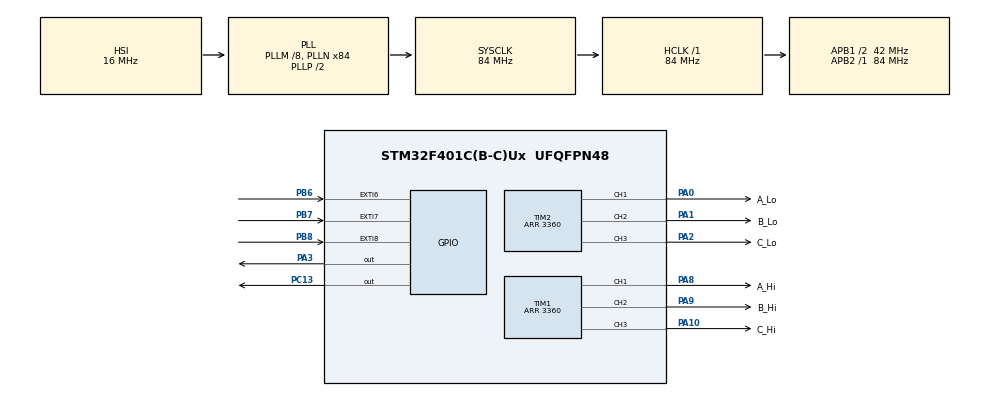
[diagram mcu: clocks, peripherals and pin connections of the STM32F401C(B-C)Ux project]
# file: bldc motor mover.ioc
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Mcu.Family=STM32F4
Mcu.Name=STM32F401C(B-C)Ux
Mcu.Package=UFQFPN48
NVIC.PriorityGroup=NVIC_PRIORITYGROUP_4
NVIC.TIM3_IRQn=true\:0\:0\:false\:false\:true\:true\:true
PA0-WKUP.GPIO_Label=A_Lo
PA0-WKUP.GPIO_Speed=GPIO_SPEED_FREQ_HIGH
PA0-WKUP.Signal=S_TIM2_CH1_ETR
PA1.GPIO_Label=B_Lo
PA1.GPIO_Speed=GPIO_SPEED_FREQ_HIGH
PA1.Signal=S_TIM2_CH2
PA10.GPIO_Label=C_Hi
PA10.GPIO_Speed=GPIO_SPEED_FREQ_HIGH
PA10.Signal=S_TIM1_CH3
PA13.Mode=Serial_Wire
PA13.Signal=SYS_JTMS-SWDIO
PA14.Mode=Serial_Wire
PA14.Signal=SYS_JTCK-SWCLK
PA2.GPIO_Label=C_Lo
PA2.GPIO_Speed=GPIO_SPEED_FREQ_HIGH
PA2.Signal=S_TIM2_CH3
PA3.Signal=GPIO_Output
PA8.GPIO_Label=A_Hi
PA8.GPIO_Speed=GPIO_SPEED_FREQ_HIGH
PA8.Signal=S_TIM1_CH1
PA9.GPIO_Label=B_Hi
PA9.GPIO_Speed=GPIO_SPEED_FREQ_HIGH
PA9.Signal=S_TIM1_CH2
PB6.GPIO_ModeDefaultEXTI=GPIO_MODE_IT_RISING_FALLING
PB6.Signal=GPXTI6
PB7.GPIO_ModeDefaultEXTI=GPIO_MODE_IT_RISING_FALLING
PB7.Signal=GPXTI7
PB8.GPIO_ModeDefaultEXTI=GPIO_MODE_IT_RISING_FALLING
PB8.Signal=GPXTI8
PC13-ANTI_TAMP.Signal=GPIO_Output
ProjectManager.HeapSize=0x200
ProjectManager.StackSize=0x400
ProjectManager.TargetToolchain=STM32CubeIDE
RCC.48MHZClocksFreq_Value=42000000
RCC.AHBFreq_Value=84000000
RCC.APB1CLKDivider=RCC_HCLK_DIV2
RCC.APB1Freq_Value=42000000
RCC.APB1TimFreq_Value=84000000
RCC.APB2Freq_Value=84000000
RCC.APB2TimFreq_Value=84000000
RCC.CortexFreq_Value=84000000
RCC.HCLKFreq_Value=84000000
RCC.HSE_VALUE=25000000
RCC.HSI_VALUE=16000000
RCC.LSE_VALUE=32768
RCC.PLLM=8
RCC.PLLN=84
RCC.SYSCLKFreq_VALUE=84000000
RCC.SYSCLKSource=RCC_SYSCLKSOURCE_PLLCLK
RCC.VCOOutputFreq_Value=168000000
SH.S_TIM1_CH1.0=TIM1_CH1,PWM Generation1 CH1
SH.S_TIM1_CH2.0=TIM1_CH2,PWM Generation2 CH2
SH.S_TIM1_CH3.0=TIM1_CH3,PWM Generation3 CH3
SH.S_TIM2_CH1_ETR.0=TIM2_CH1,PWM Generation1 CH1
SH.S_TIM2_CH2.0=TIM2_CH2,PWM Generation2 CH2
SH.S_TIM2_CH3.0=TIM2_CH3,PWM Generation3 CH3
TIM1.AutoReloadPreload=TIM_AUTORELOAD_PRELOAD_ENABLE
TIM1.Channel-PWM\ Generation1\ CH1=TIM_CHANNEL_1
TIM1.Channel-PWM\ Generation2\ CH2=TIM_CHANNEL_2
TIM1.Channel-PWM\ Generation3\ CH3=TIM_CHANNEL_3
TIM1.OCFastMode_PWM-PWM\ Generation1\ CH1=TIM_OCFAST_ENABLE
TIM1.OCFastMode_PWM-PWM\ Generation2\ CH2=TIM_OCFAST_ENABLE
TIM1.OCFastMode_PWM-PWM\ Generation3\ CH3=TIM_OCFAST_ENABLE
TIM1.Period=3360
TIM2.AutoReloadPreload=TIM_AUTORELOAD_PRELOAD_ENABLE
TIM2.Channel-PWM\ Generation1\ CH1=TIM_CHANNEL_1
TIM2.Channel-PWM\ Generation2\ CH2=TIM_CHANNEL_2
TIM2.Channel-PWM\ Generation3\ CH3=TIM_CHANNEL_3
TIM2.OCFastMode_PWM-PWM\ Generation1\ CH1=TIM_OCFAST_ENABLE
TIM2.OCFastMode_PWM-PWM\ Generation2\ CH2=TIM_OCFAST_ENABLE
TIM2.OCFastMode_PWM-PWM\ Generation3\ CH3=TIM_OCFAST_ENABLE
TIM2.OCPolarity_1=TIM_OCPOLARITY_HIGH
TIM2.OCPolarity_2=TIM_OCPOLARITY_HIGH
TIM2.OCPolarity_3=TIM_OCPOLARITY_HIGH
TIM2.Period=3360
TIM3.AutoReloadPreload=TIM_AUTORELOAD_PRELOAD_ENABLE
TIM3.Period=84
TIM3.Prescaler=1000
TIM4.Prescaler=84
VP_TIM1_VS_ClockSourceINT.Mode=Internal
VP_TIM2_VS_ClockSourceINT.Mode=Internal
VP_TIM3_VS_ClockSourceINT.Mode=Internal
VP_TIM4_VS_ClockSourceINT.Mode=Internal
board=custom

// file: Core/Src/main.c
/* USER CODE BEGIN Header */
/**
  ******************************************************************************
  * @file           : main.c
  * @brief          : Main program body
  ******************************************************************************
  * @attention
  *
  * <h2><center>&copy; Copyright (c) 2021 STMicroelectronics.
  * All rights reserved.</center></h2>
  *
  * This software component is licensed by ST under BSD 3-Clause license,
  * the "License"; You may not use this file except in compliance with the
  * License. You may obtain a copy of the License at:
  *                        opensource.org/licenses/BSD-3-Clause
  *
  ******************************************************************************
  */
/* USER CODE END Header */
#include "main.h"

/* USER CODE BEGIN Includes */

int sin_x(uint16_t angle);
const uint16_t sin_table[1024];

/* USER CODE END Includes */

TIM_HandleTypeDef htim1;
TIM_HandleTypeDef htim2;
TIM_HandleTypeDef htim3;
TIM_HandleTypeDef htim4;

/* USER CODE BEGIN PV */
const int PWM_MAX = 3360;  // Set this to the PWM generator counter period
const int BLDC_MAGNETS_PER_REV = 7; // Set this to the number of magnet pairs in the motor

volatile uint32_t shaft_phase = 0;      // Desired phase location of the motor, in rotations, 0.32 format
volatile int32_t motor_velocity = (0x7FFFFFFF / 500);   // Desired motor velocity, in fractional rotations per tick, max +-0.5 r / tick
volatile uint16_t overall_power = 0x4FFF;      // 0xFFFF is full power

enum {
	CONTROL_6_PHASE,
	CONTROL_6_PHASE_IFX007,
	CONTROL_SINUSOIDAL,
	CONTROL_SINUSOIDAL_IFX007
};
volatile int control_mode = CONTROL_SINUSOIDAL_IFX007;

#define A_OFFSET (0)
#define B_OFFSET (2*1024/3)
#define C_OFFSET (1024/3)
/* USER CODE END PV */

void SystemClock_Config(void);
static void MX_GPIO_Init(void);
static void MX_TIM1_Init(void);
static void MX_TIM2_Init(void);
static void MX_TIM3_Init(void);
static void MX_TIM4_Init(void);

/* USER CODE BEGIN 0 */

void setVelRadPerSecond(float velin) {
	motor_velocity = (int32_t)(velin * (2.0*3.1416/1000)*0x7FFFFFFF);
}

void setVelRotPerSecond(float velin) {
	motor_velocity = (int32_t)((velin/1000)*0x7FFFFFFF);
}

void setVelDegPerSecond(float velin) {
	motor_velocity = (int32_t)(velin*(360.0/1000)*0x7FFFFFFF);
}

/* USER CODE END 0 */

int main(void)
{

  /* MCU Configuration--------------------------------------------------------*/

  /* Reset of all peripherals, Initializes the Flash interface and the Systick. */
  HAL_Init();

  /* Configure the system clock */
  SystemClock_Config();

  /* Initialize all configured peripherals */
  MX_GPIO_Init();
  MX_TIM1_Init();
  MX_TIM2_Init();
  MX_TIM3_Init();
  MX_TIM4_Init();
  /* USER CODE BEGIN 2 */

  // Set all PWM outputs to idle, by setting the compare value to zero.
  // (For timer mode 1, the output is active only when the counter is below the compare value.)
  TIM2->CCR1 = 0;
  TIM2->CCR2 = 0;
  TIM2->CCR3 = 0;
  TIM1->CCR1 = 0;
  TIM1->CCR2 = 0;
  TIM1->CCR3 = 0;

  // Now start up all the timers - 6 PWMs and one periodic timer
  HAL_TIM_PWM_Start(&htim2, TIM_CHANNEL_1);
  HAL_TIM_PWM_Start(&htim2, TIM_CHANNEL_2);
  HAL_TIM_PWM_Start(&htim2, TIM_CHANNEL_3);
  HAL_TIM_PWM_Start(&htim1, TIM_CHANNEL_1);
  HAL_TIM_PWM_Start(&htim1, TIM_CHANNEL_2);
  HAL_TIM_PWM_Start(&htim1, TIM_CHANNEL_3);
  HAL_TIM_Base_Start_IT(&htim3);

  /* USER CODE END 2 */

  /* Infinite loop */
  /* USER CODE BEGIN WHILE */
  setVelRotPerSecond(3);
  while (1)
  {
    /* USER CODE END WHILE */

  }
}

void SystemClock_Config(void)
{
  RCC_OscInitTypeDef RCC_OscInitStruct = {0};
  RCC_ClkInitTypeDef RCC_ClkInitStruct = {0};

  /** Configure the main internal regulator output voltage
  */
  __HAL_RCC_PWR_CLK_ENABLE();
  __HAL_PWR_VOLTAGESCALING_CONFIG(PWR_REGULATOR_VOLTAGE_SCALE2);
  /** Initializes the RCC Oscillators according to the specified parameters
  * in the RCC_OscInitTypeDef structure.
  */
  RCC_OscInitStruct.OscillatorType = RCC_OSCILLATORTYPE_HSI;
  RCC_OscInitStruct.HSIState = RCC_HSI_ON;
  RCC_OscInitStruct.HSICalibrationValue = RCC_HSICALIBRATION_DEFAULT;
  RCC_OscInitStruct.PLL.PLLState = RCC_PLL_ON;
  RCC_OscInitStruct.PLL.PLLSource = RCC_PLLSOURCE_HSI;
  RCC_OscInitStruct.PLL.PLLM = 8;
  RCC_OscInitStruct.PLL.PLLN = 84;
  RCC_OscInitStruct.PLL.PLLP = RCC_PLLP_DIV2;
  RCC_OscInitStruct.PLL.PLLQ = 4;
  if (HAL_RCC_OscConfig(&RCC_OscInitStruct) != HAL_OK)
  {
    Error_Handler();
  }
  /** Initializes the CPU, AHB and APB buses clocks
  */
  RCC_ClkInitStruct.ClockType = RCC_CLOCKTYPE_HCLK|RCC_CLOCKTYPE_SYSCLK
                              |RCC_CLOCKTYPE_PCLK1|RCC_CLOCKTYPE_PCLK2;
  RCC_ClkInitStruct.SYSCLKSource = RCC_SYSCLKSOURCE_PLLCLK;
  RCC_ClkInitStruct.AHBCLKDivider = RCC_SYSCLK_DIV1;
  RCC_ClkInitStruct.APB1CLKDivider = RCC_HCLK_DIV2;
  RCC_ClkInitStruct.APB2CLKDivider = RCC_HCLK_DIV1;

  if (HAL_RCC_ClockConfig(&RCC_ClkInitStruct, FLASH_LATENCY_2) != HAL_OK)
  {
    Error_Handler();
  }
}

static void MX_TIM1_Init(void)
{

  TIM_ClockConfigTypeDef sClockSourceConfig = {0};
  TIM_MasterConfigTypeDef sMasterConfig = {0};
  TIM_OC_InitTypeDef sConfigOC = {0};
  TIM_BreakDeadTimeConfigTypeDef sBreakDeadTimeConfig = {0};

  htim1.Instance = TIM1;
  htim1.Init.Prescaler = 0;
  htim1.Init.CounterMode = TIM_COUNTERMODE_UP;
  htim1.Init.Period = 3360;
  htim1.Init.ClockDivision = TIM_CLOCKDIVISION_DIV1;
  htim1.Init.RepetitionCounter = 0;
  htim1.Init.AutoReloadPreload = TIM_AUTORELOAD_PRELOAD_ENABLE;
  if (HAL_TIM_Base_Init(&htim1) != HAL_OK)
  {
    Error_Handler();
  }
  sClockSourceConfig.ClockSource = TIM_CLOCKSOURCE_INTERNAL;
  if (HAL_TIM_ConfigClockSource(&htim1, &sClockSourceConfig) != HAL_OK)
  {
    Error_Handler();
  }
  if (HAL_TIM_PWM_Init(&htim1) != HAL_OK)
  {
    Error_Handler();
  }
  sMasterConfig.MasterOutputTrigger = TIM_TRGO_RESET;
  sMasterConfig.MasterSlaveMode = TIM_MASTERSLAVEMODE_DISABLE;
  if (HAL_TIMEx_MasterConfigSynchronization(&htim1, &sMasterConfig) != HAL_OK)
  {
    Error_Handler();
  }
  sConfigOC.OCMode = TIM_OCMODE_PWM1;
  sConfigOC.Pulse = 0;
  sConfigOC.OCPolarity = TIM_OCPOLARITY_HIGH;
  sConfigOC.OCNPolarity = TIM_OCNPOLARITY_HIGH;
  sConfigOC.OCFastMode = TIM_OCFAST_ENABLE;
  sConfigOC.OCIdleState = TIM_OCIDLESTATE_RESET;
  sConfigOC.OCNIdleState = TIM_OCNIDLESTATE_RESET;
  if (HAL_TIM_PWM_ConfigChannel(&htim1, &sConfigOC, TIM_CHANNEL_1) != HAL_OK)
  {
    Error_Handler();
  }
  if (HAL_TIM_PWM_ConfigChannel(&htim1, &sConfigOC, TIM_CHANNEL_2) != HAL_OK)
  {
    Error_Handler();
  }
  if (HAL_TIM_PWM_ConfigChannel(&htim1, &sConfigOC, TIM_CHANNEL_3) != HAL_OK)
  {
    Error_Handler();
  }
  sBreakDeadTimeConfig.OffStateRunMode = TIM_OSSR_DISABLE;
  sBreakDeadTimeConfig.OffStateIDLEMode = TIM_OSSI_DISABLE;
  sBreakDeadTimeConfig.LockLevel = TIM_LOCKLEVEL_OFF;
  sBreakDeadTimeConfig.DeadTime = 0;
  sBreakDeadTimeConfig.BreakState = TIM_BREAK_DISABLE;
  sBreakDeadTimeConfig.BreakPolarity = TIM_BREAKPOLARITY_HIGH;
  sBreakDeadTimeConfig.AutomaticOutput = TIM_AUTOMATICOUTPUT_DISABLE;
  if (HAL_TIMEx_ConfigBreakDeadTime(&htim1, &sBreakDeadTimeConfig) != HAL_OK)
  {
    Error_Handler();
  }
  HAL_TIM_MspPostInit(&htim1);

}

static void MX_TIM2_Init(void)
{

  TIM_ClockConfigTypeDef sClockSourceConfig = {0};
  TIM_MasterConfigTypeDef sMasterConfig = {0};
  TIM_OC_InitTypeDef sConfigOC = {0};

  htim2.Instance = TIM2;
  htim2.Init.Prescaler = 0;
  htim2.Init.CounterMode = TIM_COUNTERMODE_UP;
  htim2.Init.Period = 3360;
  htim2.Init.ClockDivision = TIM_CLOCKDIVISION_DIV1;
  htim2.Init.AutoReloadPreload = TIM_AUTORELOAD_PRELOAD_ENABLE;
  if (HAL_TIM_Base_Init(&htim2) != HAL_OK)
  {
    Error_Handler();
  }
  sClockSourceConfig.ClockSource = TIM_CLOCKSOURCE_INTERNAL;
  if (HAL_TIM_ConfigClockSource(&htim2, &sClockSourceConfig) != HAL_OK)
  {
    Error_Handler();
  }
  if (HAL_TIM_PWM_Init(&htim2) != HAL_OK)
  {
    Error_Handler();
  }
  sMasterConfig.MasterOutputTrigger = TIM_TRGO_RESET;
  sMasterConfig.MasterSlaveMode = TIM_MASTERSLAVEMODE_DISABLE;
  if (HAL_TIMEx_MasterConfigSynchronization(&htim2, &sMasterConfig) != HAL_OK)
  {
    Error_Handler();
  }
  sConfigOC.OCMode = TIM_OCMODE_PWM1;
  sConfigOC.Pulse = 0;
  sConfigOC.OCPolarity = TIM_OCPOLARITY_HIGH;
  sConfigOC.OCFastMode = TIM_OCFAST_ENABLE;
  if (HAL_TIM_PWM_ConfigChannel(&htim2, &sConfigOC, TIM_CHANNEL_1) != HAL_OK)
  {
    Error_Handler();
  }
  if (HAL_TIM_PWM_ConfigChannel(&htim2, &sConfigOC, TIM_CHANNEL_2) != HAL_OK)
  {
    Error_Handler();
  }
  if (HAL_TIM_PWM_ConfigChannel(&htim2, &sConfigOC, TIM_CHANNEL_3) != HAL_OK)
  {
    Error_Handler();
  }
  HAL_TIM_MspPostInit(&htim2);

}

static void MX_TIM3_Init(void)
{

  TIM_ClockConfigTypeDef sClockSourceConfig = {0};
  TIM_MasterConfigTypeDef sMasterConfig = {0};

  htim3.Instance = TIM3;
  htim3.Init.Prescaler = 1000;
  htim3.Init.CounterMode = TIM_COUNTERMODE_UP;
  htim3.Init.Period = 84;
  htim3.Init.ClockDivision = TIM_CLOCKDIVISION_DIV1;
  htim3.Init.AutoReloadPreload = TIM_AUTORELOAD_PRELOAD_ENABLE;
  if (HAL_TIM_Base_Init(&htim3) != HAL_OK)
  {
    Error_Handler();
  }
  sClockSourceConfig.ClockSource = TIM_CLOCKSOURCE_INTERNAL;
  if (HAL_TIM_ConfigClockSource(&htim3, &sClockSourceConfig) != HAL_OK)
  {
    Error_Handler();
  }
  sMasterConfig.MasterOutputTrigger = TIM_TRGO_RESET;
  sMasterConfig.MasterSlaveMode = TIM_MASTERSLAVEMODE_DISABLE;
  if (HAL_TIMEx_MasterConfigSynchronization(&htim3, &sMasterConfig) != HAL_OK)
  {
    Error_Handler();
  }

}

static void MX_TIM4_Init(void)
{

  TIM_ClockConfigTypeDef sClockSourceConfig = {0};
  TIM_MasterConfigTypeDef sMasterConfig = {0};

  htim4.Instance = TIM4;
  htim4.Init.Prescaler = 84;
  htim4.Init.CounterMode = TIM_COUNTERMODE_UP;
  htim4.Init.Period = 65535;
  htim4.Init.ClockDivision = TIM_CLOCKDIVISION_DIV1;
  htim4.Init.AutoReloadPreload = TIM_AUTORELOAD_PRELOAD_DISABLE;
  if (HAL_TIM_Base_Init(&htim4) != HAL_OK)
  {
    Error_Handler();
  }
  sClockSourceConfig.ClockSource = TIM_CLOCKSOURCE_INTERNAL;
  if (HAL_TIM_ConfigClockSource(&htim4, &sClockSourceConfig) != HAL_OK)
  {
    Error_Handler();
  }
  sMasterConfig.MasterOutputTrigger = TIM_TRGO_RESET;
  sMasterConfig.MasterSlaveMode = TIM_MASTERSLAVEMODE_DISABLE;
  if (HAL_TIMEx_MasterConfigSynchronization(&htim4, &sMasterConfig) != HAL_OK)
  {
    Error_Handler();
  }

}

static void MX_GPIO_Init(void)
{
  GPIO_InitTypeDef GPIO_InitStruct = {0};

  /* GPIO Ports Clock Enable */
  __HAL_RCC_GPIOC_CLK_ENABLE();
  __HAL_RCC_GPIOA_CLK_ENABLE();
  __HAL_RCC_GPIOB_CLK_ENABLE();

  /*Configure GPIO pin Output Level */
  HAL_GPIO_WritePin(GPIOC, GPIO_PIN_13, GPIO_PIN_RESET);

  /*Configure GPIO pin Output Level */
  HAL_GPIO_WritePin(GPIOA, GPIO_PIN_3, GPIO_PIN_RESET);

  /*Configure GPIO pin : PC13 */
  GPIO_InitStruct.Pin = GPIO_PIN_13;
  GPIO_InitStruct.Mode = GPIO_MODE_OUTPUT_PP;
  GPIO_InitStruct.Pull = GPIO_NOPULL;
  GPIO_InitStruct.Speed = GPIO_SPEED_FREQ_LOW;
  HAL_GPIO_Init(GPIOC, &GPIO_InitStruct);

  /*Configure GPIO pin : PA3 */
  GPIO_InitStruct.Pin = GPIO_PIN_3;
  GPIO_InitStruct.Mode = GPIO_MODE_OUTPUT_PP;
  GPIO_InitStruct.Pull = GPIO_NOPULL;
  GPIO_InitStruct.Speed = GPIO_SPEED_FREQ_LOW;
  HAL_GPIO_Init(GPIOA, &GPIO_InitStruct);

  /*Configure GPIO pins : PB6 PB7 PB8 */
  GPIO_InitStruct.Pin = GPIO_PIN_6|GPIO_PIN_7|GPIO_PIN_8;
  GPIO_InitStruct.Mode = GPIO_MODE_IT_RISING_FALLING;
  GPIO_InitStruct.Pull = GPIO_NOPULL;
  HAL_GPIO_Init(GPIOB, &GPIO_InitStruct);

}

/* USER CODE BEGIN 4 */

void HAL_GPIO_EXTI_Callback(uint16_t GPIO_Pin)
{
	HAL_GPIO_TogglePin(GPIOC, GPIO_PIN_13);
}

void HAL_TIM_PeriodElapsedCallback(TIM_HandleTypeDef* htim)
{
	HAL_GPIO_WritePin(GPIOA, GPIO_PIN_3, GPIO_PIN_SET);
	// This gets called every millisecond.
	// Compute the next desired motor position, and update
	// the PWM settings.
	int control_phase;
	int on_val = (overall_power * PWM_MAX) >> 16;

	// Update desired motor position
	shaft_phase += motor_velocity;

	// Convert motor position to phase position in terms of number of complete electrical phases
	uint32_t phase_position = 0xffff & ((shaft_phase >> 16) * BLDC_MAGNETS_PER_REV);

	// Determine PWM settings from desired phase position
	switch (control_mode)
	{
	case CONTROL_6_PHASE:
		control_phase = (phase_position * 6) >> 16;  // results in number from 0 to 5
		switch (control_phase)
		{
		case 0:
			// A+, B-
			TIM1->CCR1 = on_val;
			TIM1->CCR2 = 0;
			TIM1->CCR3 = 0;
			TIM2->CCR1 = 0;
			TIM2->CCR2 = PWM_MAX;
			TIM2->CCR3 = 0;
			break;
		case 1:
			// A+, C-
			TIM1->CCR1 = on_val;
			TIM1->CCR2 = 0;
			TIM1->CCR3 = 0;
			TIM2->CCR1 = 0;
			TIM2->CCR2 = 0;
			TIM2->CCR3 = PWM_MAX;
			break;
		case 2:
			// B+, C-
			TIM1->CCR1 = 0;
			TIM1->CCR2 = on_val;
			TIM1->CCR3 = 0;
			TIM2->CCR1 = 0;
			TIM2->CCR2 = 0;
			TIM2->CCR3 = PWM_MAX;
			break;
		case 3:
			// B+, A-
			TIM1->CCR1 = 0;
			TIM1->CCR2 = on_val;
			TIM1->CCR3 = 0;
			TIM2->CCR1 = PWM_MAX;
			TIM2->CCR2 = 0;
			TIM2->CCR3 = 0;
			break;
		case 4:
			// C+, A-
			TIM1->CCR1 = 0;
			TIM1->CCR2 = 0;
			TIM1->CCR3 = on_val;
			TIM2->CCR1 = PWM_MAX;
			TIM2->CCR2 = 0;
			TIM2->CCR3 = 0;
			break;
		case 5:
			// C+, B-
			TIM1->CCR1 = 0;
			TIM1->CCR2 = 0;
			TIM1->CCR3 = on_val;
			TIM2->CCR1 = 0;
			TIM2->CCR2 = PWM_MAX;
			TIM2->CCR3 = 0;
			break;
		}
		break;
	case CONTROL_6_PHASE_IFX007:
		control_phase = (phase_position * 6) >> 16;  // results in number from 0 to 5
		switch (control_phase)
		{
		case 0:
			// A+, B-
			TIM1->CCR1 = PWM_MAX;
			TIM1->CCR2 = on_val;
			TIM1->CCR3 = 0;
			TIM2->CCR1 = PWM_MAX;
			TIM2->CCR2 = 0;
			TIM2->CCR3 = 0;
			break;
		case 1:
			// A+, C-
			TIM1->CCR1 = PWM_MAX;
			TIM1->CCR2 = 0;
			TIM1->CCR3 = on_val;
			TIM2->CCR1 = PWM_MAX;
			TIM2->CCR2 = 0;
			TIM2->CCR3 = 0;
			break;
		case 2:
			// B+, C-
			TIM1->CCR1 = 0;
			TIM1->CCR2 = PWM_MAX;
			TIM1->CCR3 = on_val;
			TIM2->CCR1 = 0;
			TIM2->CCR2 = PWM_MAX;
			TIM2->CCR3 = 0;
			break;
		case 3:
			// B+, A-
			TIM1->CCR1 = on_val;
			TIM1->CCR2 = PWM_MAX;
			TIM1->CCR3 = 0;
			TIM2->CCR1 = 0;
			TIM2->CCR2 = PWM_MAX;
			TIM2->CCR3 = 0;
			break;
		case 4:
			// C+, A-
			TIM1->CCR1 = on_val;
			TIM1->CCR2 = 0;
			TIM1->CCR3 = PWM_MAX;
			TIM2->CCR1 = 0;
			TIM2->CCR2 = 0;
			TIM2->CCR3 = PWM_MAX;
			break;
		case 5:
			// C+, B-
			TIM1->CCR1 = 0;
			TIM1->CCR2 = on_val;
			TIM1->CCR3 = PWM_MAX;
			TIM2->CCR1 = 0;
			TIM2->CCR2 = 0;
			TIM2->CCR3 = PWM_MAX;
			break;
		}
		break;
	case CONTROL_SINUSOIDAL:
		control_phase = (phase_position * 1024) >> 16;  // results in number from 0 to 1023
		switch (control_phase * 6 / 1024)
		{
		case 0:
			// PWM: A+, C+,   B- on
			TIM1->CCR1 = (on_val * sin_x(control_phase + A_OFFSET)) >> 15;
			TIM1->CCR2 = 0;
			TIM1->CCR3 = (on_val * sin_x(control_phase + C_OFFSET)) >> 15;
			TIM2->CCR1 = 0;
			TIM2->CCR2 = PWM_MAX;
			TIM2->CCR3 = 0;
			break;
		case 1:
			// PSM: C-, B-    A+ on
			TIM1->CCR1 = PWM_MAX;
			TIM1->CCR2 = 0;
			TIM1->CCR3 = 0;
			TIM2->CCR1 = 0;
			TIM2->CCR2 = (on_val * -sin_x(control_phase + B_OFFSET)) >> 15;
			TIM2->CCR3 = (on_val * -sin_x(control_phase + C_OFFSET)) >> 15;
			break;
		case 2:
			// PWM: A+, B+,    C- on
			TIM1->CCR1 = (on_val * sin_x(control_phase + A_OFFSET)) >> 15;
			TIM1->CCR2 = (on_val * sin_x(control_phase + B_OFFSET)) >> 15;
			TIM1->CCR3 = 0;
			TIM2->CCR1 = 0;
			TIM2->CCR2 = 0;
			TIM2->CCR3 = PWM_MAX;
			break;
		case 3:
			// PWM: A-, C-    B+ on
			TIM1->CCR1 = 0;
			TIM1->CCR2 = PWM_MAX;
			TIM1->CCR3 = 0;
			TIM2->CCR1 = (on_val * -sin_x(control_phase + A_OFFSET)) >> 15;
			TIM2->CCR2 = 0;
			TIM2->CCR3 = (on_val * -sin_x(control_phase + C_OFFSET)) >> 15;
			break;
		case 4:
			// PWM: B+, C+,   A- on
			TIM1->CCR1 = 0;
			TIM1->CCR2 = (on_val * sin_x(control_phase + B_OFFSET)) >> 15;
			TIM1->CCR3 = (on_val * sin_x(control_phase + C_OFFSET)) >> 15;
			TIM2->CCR1 = PWM_MAX;
			TIM2->CCR2 = 0;
			TIM2->CCR3 = 0;
			break;
		case 5:
			// PWM: A-, B-    C+ on
			TIM1->CCR1 = 0;
			TIM1->CCR2 = 0;
			TIM1->CCR3 = PWM_MAX;
			TIM2->CCR1 = (on_val * -sin_x(control_phase + A_OFFSET)) >> 15;
			TIM2->CCR2 = (on_val * -sin_x(control_phase + B_OFFSET)) >> 15;
			TIM2->CCR3 = 0;
			break;
		}
		break;
	case CONTROL_SINUSOIDAL_IFX007:
		control_phase = (phase_position * 1024) >> 16;  // results in number from 0 to 1023
		switch (control_phase * 6 / 1024)
		{
		case 0:
			// PWM: A+, C+,   B- on
			TIM1->CCR1 = (on_val * sin_x(control_phase + A_OFFSET)) >> 15;
			TIM1->CCR2 = PWM_MAX;
			TIM1->CCR3 = (on_val * sin_x(control_phase + C_OFFSET)) >> 15;
			TIM2->CCR1 = PWM_MAX;
			TIM2->CCR2 = 0;
			TIM2->CCR3 = PWM_MAX;
			break;
		case 1:
			// PSM: C-, B-    A+ on
			TIM1->CCR1 = PWM_MAX;
			TIM1->CCR2 = (on_val * -sin_x(control_phase + B_OFFSET)) >> 15;
			TIM1->CCR3 = (on_val * -sin_x(control_phase + C_OFFSET)) >> 15;
			TIM2->CCR1 = PWM_MAX;
			TIM2->CCR2 = 0;
			TIM2->CCR3 = 0;
			break;
		case 2:
			// PWM: A+, B+,    C- on
			TIM1->CCR1 = (on_val * sin_x(control_phase + A_OFFSET)) >> 15;
			TIM1->CCR2 = (on_val * sin_x(control_phase + B_OFFSET)) >> 15;
			TIM1->CCR3 = PWM_MAX;
			TIM2->CCR1 = PWM_MAX;
			TIM2->CCR2 = PWM_MAX;
			TIM2->CCR3 = 0;
			break;
		case 3:
			// PWM: A-, C-    B+ on
			TIM1->CCR1 = (on_val * -sin_x(control_phase + A_OFFSET)) >> 15;
			TIM1->CCR2 = PWM_MAX;
			TIM1->CCR3 = (on_val * -sin_x(control_phase + C_OFFSET)) >> 15;
			TIM2->CCR1 = 0;
			TIM2->CCR2 = PWM_MAX;
			TIM2->CCR3 = 0;
			break;
		case 4:
			// PWM: B+, C+,   A- on
			TIM1->CCR1 = PWM_MAX;
			TIM1->CCR2 = (on_val * sin_x(control_phase + B_OFFSET)) >> 15;
			TIM1->CCR3 = (on_val * sin_x(control_phase + C_OFFSET)) >> 15;
			TIM2->CCR1 = 0;
			TIM2->CCR2 = PWM_MAX;
			TIM2->CCR3 = PWM_MAX;
			break;
		case 5:
			// PWM: A-, B-    C+ on
			TIM1->CCR1 = (on_val * -sin_x(control_phase + A_OFFSET)) >> 15;
			TIM1->CCR2 = (on_val * -sin_x(control_phase + B_OFFSET)) >> 15;
			TIM1->CCR3 = PWM_MAX;
			TIM2->CCR1 = 0;
			TIM2->CCR2 = 0;
			TIM2->CCR3 = PWM_MAX;
			break;
		}
		break;
	}

	HAL_GPIO_WritePin(GPIOA, GPIO_PIN_3, GPIO_PIN_RESET);
}

// returns sin(angle), signed form, +- 0x8000.
// angle is assumed to be in 1024ths of a full cycle
int sin_x(uint16_t angle)
{
	return ((int) sin_table[angle % 1024] - 0x8000);
}
const uint16_t sin_table[1024] = {
		0x8000,0x80c9,0x8192,0x825b,0x8324,0x83ee,0x84b7,0x8580,
		0x8649,0x8712,0x87db,0x88a4,0x896c,0x8a35,0x8afe,0x8bc6,
		0x8c8e,0x8d57,0x8e1f,0x8ee7,0x8fae,0x9076,0x913e,0x9205,
		0x92cc,0x9393,0x945a,0x9521,0x95e7,0x96ad,0x9773,0x9839,
		0x98fe,0x99c4,0x9a89,0x9b4d,0x9c12,0x9cd6,0x9d9a,0x9e5e,
		0x9f21,0x9fe4,0xa0a7,0xa169,0xa22b,0xa2ed,0xa3af,0xa470,
		0xa530,0xa5f1,0xa6b1,0xa770,0xa830,0xa8ef,0xa9ad,0xaa6b,
		0xab29,0xabe6,0xaca3,0xad5f,0xae1b,0xaed7,0xaf92,0xb04d,
		0xb107,0xb1c0,0xb27a,0xb332,0xb3ea,0xb4a2,0xb559,0xb610,
		0xb6c6,0xb77c,0xb831,0xb8e5,0xb999,0xba4d,0xbb00,0xbbb2,
		0xbc64,0xbd15,0xbdc6,0xbe76,0xbf25,0xbfd4,0xc082,0xc12f,
		0xc1dc,0xc288,0xc334,0xc3df,0xc489,0xc533,0xc5dc,0xc684,
		0xc72c,0xc7d3,0xc879,0xc91f,0xc9c3,0xca67,0xcb0b,0xcbae,
		0xcc4f,0xccf1,0xcd91,0xce31,0xced0,0xcf6e,0xd00b,0xd0a8,
		0xd144,0xd1df,0xd279,0xd313,0xd3ac,0xd443,0xd4db,0xd571,
		0xd606,0xd69b,0xd72f,0xd7c2,0xd854,0xd8e5,0xd975,0xda05,
		0xda93,0xdb21,0xdbae,0xdc3a,0xdcc5,0xdd4f,0xddd9,0xde61,
		0xdee9,0xdf6f,0xdff5,0xe07a,0xe0fd,0xe180,0xe202,0xe283,
		0xe303,0xe382,0xe400,0xe47d,0xe4fa,0xe575,0xe5ef,0xe668,
		0xe6e0,0xe758,0xe7ce,0xe843,0xe8b7,0xe92b,0xe99d,0xea0e,
		0xea7e,0xeaed,0xeb5b,0xebc8,0xec34,0xec9f,0xed09,0xed72,
		0xedda,0xee41,0xeea7,0xef0b,0xef6f,0xefd1,0xf033,0xf093,
		0xf0f2,0xf150,0xf1ad,0xf209,0xf264,0xf2be,0xf316,0xf36e,
		0xf3c4,0xf41a,0xf46e,0xf4c1,0xf513,0xf564,0xf5b3,0xf602,
		0xf64f,0xf69b,0xf6e6,0xf730,0xf779,0xf7c1,0xf807,0xf84d,
		0xf891,0xf8d4,0xf916,0xf956,0xf996,0xf9d4,0xfa11,0xfa4d,
		0xfa88,0xfac1,0xfafa,0xfb31,0xfb67,0xfb9c,0xfbd0,0xfc02,
		0xfc33,0xfc63,0xfc92,0xfcc0,0xfcec,0xfd17,0xfd42,0xfd6a,
		0xfd92,0xfdb8,0xfdde,0xfe01,0xfe24,0xfe46,0xfe66,0xfe85,
		0xfea3,0xfec0,0xfedb,0xfef5,0xff0e,0xff26,0xff3c,0xff52,
		0xff66,0xff79,0xff8a,0xff9b,0xffaa,0xffb8,0xffc4,0xffd0,
		0xffda,0xffe3,0xffeb,0xfff1,0xfff6,0xfffa,0xfffd,0xffff,
		0xffff,0xfffe,0xfffc,0xfff8,0xfff4,0xffee,0xffe7,0xffdf,
		0xffd5,0xffca,0xffbe,0xffb1,0xffa2,0xff93,0xff82,0xff6f,
		0xff5c,0xff47,0xff31,0xff1a,0xff02,0xfee8,0xfece,0xfeb1,
		0xfe94,0xfe76,0xfe56,0xfe35,0xfe13,0xfdf0,0xfdcb,0xfda5,
		0xfd7e,0xfd56,0xfd2d,0xfd02,0xfcd6,0xfca9,0xfc7b,0xfc4b,
		0xfc1b,0xfbe9,0xfbb6,0xfb82,0xfb4c,0xfb16,0xfade,0xfaa5,
		0xfa6b,0xfa2f,0xf9f3,0xf9b5,0xf976,0xf936,0xf8f5,0xf8b2,
		0xf86f,0xf82a,0xf7e4,0xf79d,0xf755,0xf70c,0xf6c1,0xf675,
		0xf629,0xf5db,0xf58c,0xf53b,0xf4ea,0xf498,0xf444,0xf3ef,
		0xf399,0xf342,0xf2ea,0xf291,0xf237,0xf1db,0xf17f,0xf121,
		0xf0c3,0xf063,0xf002,0xefa0,0xef3d,0xeed9,0xee74,0xee0e,
		0xeda6,0xed3e,0xecd5,0xec6a,0xebff,0xeb92,0xeb24,0xeab6,
		0xea46,0xe9d6,0xe964,0xe8f1,0xe87d,0xe809,0xe793,0xe71c,
		0xe6a4,0xe62c,0xe5b2,0xe537,0xe4bc,0xe43f,0xe3c1,0xe343,
		0xe2c3,0xe243,0xe1c1,0xe13f,0xe0bc,0xe037,0xdfb2,0xdf2c,
		0xdea5,0xde1d,0xdd94,0xdd0a,0xdc80,0xdbf4,0xdb68,0xdada,
		0xda4c,0xd9bd,0xd92d,0xd89c,0xd80b,0xd778,0xd6e5,0xd651,
		0xd5bc,0xd526,0xd48f,0xd3f8,0xd35f,0xd2c6,0xd22c,0xd192,
		0xd0f6,0xd05a,0xcfbd,0xcf1f,0xce80,0xcde1,0xcd41,0xcca0,
		0xcbff,0xcb5c,0xcab9,0xca16,0xc971,0xc8cc,0xc826,0xc77f,
		0xc6d8,0xc630,0xc588,0xc4de,0xc434,0xc38a,0xc2de,0xc232,
		0xc186,0xc0d9,0xc02b,0xbf7c,0xbecd,0xbe1e,0xbd6d,0xbcbd,
		0xbc0b,0xbb59,0xbaa6,0xb9f3,0xb940,0xb88b,0xb7d6,0xb721,
		0xb66b,0xb5b5,0xb4fe,0xb446,0xb38e,0xb2d6,0xb21d,0xb164,
		0xb0aa,0xafef,0xaf34,0xae79,0xadbd,0xad01,0xac45,0xab88,
		0xaaca,0xaa0c,0xa94e,0xa88f,0xa7d0,0xa711,0xa651,0xa591,
		0xa4d0,0xa40f,0xa34e,0xa28c,0xa1ca,0xa108,0xa045,0x9f83,
		0x9ebf,0x9dfc,0x9d38,0x9c74,0x9bb0,0x9aeb,0x9a26,0x9961,
		0x989c,0x97d6,0x9710,0x964a,0x9584,0x94bd,0x93f7,0x9330,
		0x9269,0x91a1,0x90da,0x9012,0x8f4b,0x8e83,0x8dbb,0x8cf3,
		0x8c2a,0x8b62,0x8a99,0x89d1,0x8908,0x883f,0x8776,0x86ad,
		0x85e4,0x851b,0x8452,0x8389,0x82c0,0x81f7,0x812d,0x8064,
		0x7f9b,0x7ed2,0x7e08,0x7d3f,0x7c76,0x7bad,0x7ae4,0x7a1b,
		0x7952,0x7889,0x77c0,0x76f7,0x762e,0x7566,0x749d,0x73d5,
		0x730c,0x7244,0x717c,0x70b4,0x6fed,0x6f25,0x6e5e,0x6d96,
		0x6ccf,0x6c08,0x6b42,0x6a7b,0x69b5,0x68ef,0x6829,0x6763,
		0x669e,0x65d9,0x6514,0x644f,0x638b,0x62c7,0x6203,0x6140,
		0x607c,0x5fba,0x5ef7,0x5e35,0x5d73,0x5cb1,0x5bf0,0x5b2f,
		0x5a6e,0x59ae,0x58ee,0x582f,0x5770,0x56b1,0x55f3,0x5535,
		0x5477,0x53ba,0x52fe,0x5242,0x5186,0x50cb,0x5010,0x4f55,
		0x4e9b,0x4de2,0x4d29,0x4c71,0x4bb9,0x4b01,0x4a4a,0x4994,
		0x48de,0x4829,0x4774,0x46bf,0x460c,0x4559,0x44a6,0x43f4,
		0x4342,0x4292,0x41e1,0x4132,0x4083,0x3fd4,0x3f26,0x3e79,
		0x3dcd,0x3d21,0x3c75,0x3bcb,0x3b21,0x3a77,0x39cf,0x3927,
		0x3880,0x37d9,0x3733,0x368e,0x35e9,0x3546,0x34a3,0x3400,
		0x335f,0x32be,0x321e,0x317f,0x30e0,0x3042,0x2fa5,0x2f09,
		0x2e6d,0x2dd3,0x2d39,0x2ca0,0x2c07,0x2b70,0x2ad9,0x2a43,
		0x29ae,0x291a,0x2887,0x27f4,0x2763,0x26d2,0x2642,0x25b3,
		0x2525,0x2497,0x240b,0x237f,0x22f5,0x226b,0x21e2,0x215a,
		0x20d3,0x204d,0x1fc8,0x1f43,0x1ec0,0x1e3e,0x1dbc,0x1d3c,
		0x1cbc,0x1c3e,0x1bc0,0x1b43,0x1ac8,0x1a4d,0x19d3,0x195b,
		0x18e3,0x186c,0x17f6,0x1782,0x170e,0x169b,0x1629,0x15b9,
		0x1549,0x14db,0x146d,0x1400,0x1395,0x132a,0x12c1,0x1259,
		0x11f1,0x118b,0x1126,0x10c2,0x105f,0xffd,0xf9c,0xf3c,
		0xede,0xe80,0xe24,0xdc8,0xd6e,0xd15,0xcbd,0xc66,
		0xc10,0xbbb,0xb67,0xb15,0xac4,0xa73,0xa24,0x9d6,
		0x98a,0x93e,0x8f3,0x8aa,0x862,0x81b,0x7d5,0x790,
		0x74d,0x70a,0x6c9,0x689,0x64a,0x60c,0x5d0,0x594,
		0x55a,0x521,0x4e9,0x4b3,0x47d,0x449,0x416,0x3e4,
		0x3b4,0x384,0x356,0x329,0x2fd,0x2d2,0x2a9,0x281,
		0x25a,0x234,0x20f,0x1ec,0x1ca,0x1a9,0x189,0x16b,
		0x14e,0x131,0x117,0xfd,0xe5,0xce,0xb8,0xa3,
		0x90,0x7d,0x6c,0x5d,0x4e,0x41,0x35,0x2a,
		0x20,0x18,0x11,0xb,0x7,0x3,0x1,0x0,
		0x0,0x2,0x5,0x9,0xe,0x14,0x1c,0x25,
		0x2f,0x3b,0x47,0x55,0x64,0x75,0x86,0x99,
		0xad,0xc3,0xd9,0xf1,0x10a,0x124,0x13f,0x15c,
		0x17a,0x199,0x1b9,0x1db,0x1fe,0x221,0x247,0x26d,
		0x295,0x2bd,0x2e8,0x313,0x33f,0x36d,0x39c,0x3cc,
		0x3fd,0x42f,0x463,0x498,0x4ce,0x505,0x53e,0x577,
		0x5b2,0x5ee,0x62b,0x669,0x6a9,0x6e9,0x72b,0x76e,
		0x7b2,0x7f8,0x83e,0x886,0x8cf,0x919,0x964,0x9b0,
		0x9fd,0xa4c,0xa9b,0xaec,0xb3e,0xb91,0xbe5,0xc3b,
		0xc91,0xce9,0xd41,0xd9b,0xdf6,0xe52,0xeaf,0xf0d,
		0xf6c,0xfcc,0x102e,0x1090,0x10f4,0x1158,0x11be,0x1225,
		0x128d,0x12f6,0x1360,0x13cb,0x1437,0x14a4,0x1512,0x1581,
		0x15f1,0x1662,0x16d4,0x1748,0x17bc,0x1831,0x18a7,0x191f,
		0x1997,0x1a10,0x1a8a,0x1b05,0x1b82,0x1bff,0x1c7d,0x1cfc,
		0x1d7c,0x1dfd,0x1e7f,0x1f02,0x1f85,0x200a,0x2090,0x2116,
		0x219e,0x2226,0x22b0,0x233a,0x23c5,0x2451,0x24de,0x256c,
		0x25fa,0x268a,0x271a,0x27ab,0x283d,0x28d0,0x2964,0x29f9,
		0x2a8e,0x2b24,0x2bbc,0x2c53,0x2cec,0x2d86,0x2e20,0x2ebb,
		0x2f57,0x2ff4,0x3091,0x312f,0x31ce,0x326e,0x330e,0x33b0,
		0x3451,0x34f4,0x3598,0x363c,0x36e0,0x3786,0x382c,0x38d3,
		0x397b,0x3a23,0x3acc,0x3b76,0x3c20,0x3ccb,0x3d77,0x3e23,
		0x3ed0,0x3f7d,0x402b,0x40da,0x4189,0x4239,0x42ea,0x439b,
		0x444d,0x44ff,0x45b2,0x4666,0x471a,0x47ce,0x4883,0x4939,
		0x49ef,0x4aa6,0x4b5d,0x4c15,0x4ccd,0x4d85,0x4e3f,0x4ef8,
		0x4fb2,0x506d,0x5128,0x51e4,0x52a0,0x535c,0x5419,0x54d6,
		0x5594,0x5652,0x5710,0x57cf,0x588f,0x594e,0x5a0e,0x5acf,
		0x5b8f,0x5c50,0x5d12,0x5dd4,0x5e96,0x5f58,0x601b,0x60de,
		0x61a1,0x6265,0x6329,0x63ed,0x64b2,0x6576,0x663b,0x6701,
		0x67c6,0x688c,0x6952,0x6a18,0x6ade,0x6ba5,0x6c6c,0x6d33,
		0x6dfa,0x6ec1,0x6f89,0x7051,0x7118,0x71e0,0x72a8,0x7371,
		0x7439,0x7501,0x75ca,0x7693,0x775b,0x7824,0x78ed,0x79b6,
		0x7a7f,0x7b48,0x7c11,0x7cdb,0x7da4,0x7e6d,0x7f36,0x8000,
};

/* USER CODE END 4 */

void Error_Handler(void)
{
  __disable_irq();
  while (1)
  {
  }
}

/************************ (C) COPYRIGHT STMicroelectronics *****END OF FILE****/
